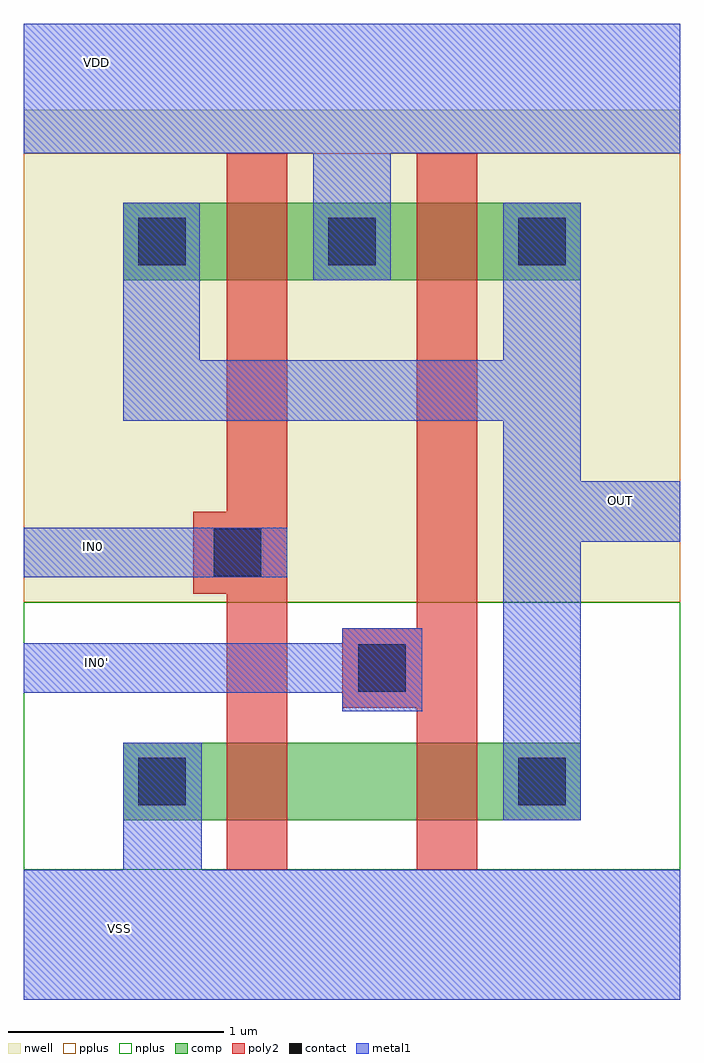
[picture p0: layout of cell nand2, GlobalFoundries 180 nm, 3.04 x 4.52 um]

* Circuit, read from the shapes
.subckt nand2 IN0 IN1 OUT VDD VSS
XM1 n1 IN0 VSS VSUBS nfet_03v3 w=0.36u l=0.28u
XM2 OUT IN1 n1 VSUBS nfet_03v3 w=0.36u l=0.28u
XM3 VDD IN0 OUT n2 pfet_03v3 w=0.36u l=0.28u
XM4 OUT IN1 VDD n2 pfet_03v3 w=0.36u l=0.28u
.ends

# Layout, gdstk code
import gdstk
lib = gdstk.Library(unit=1e-6, precision=5e-09)
def R(c, l, rs):  # rectangles x0, y0, x1, y1
    for r in rs: c.add(gdstk.rectangle(r[:2], r[2:], *l))
def A(c, l, x, y, w, h, nx, ny, dx, dy):  # array of equal rectangles
    R(c, l, [(x+i*dx, y+j*dy, x+i*dx+w, y+j*dy+h) for i in range(nx) for j in range(ny)])
nwell = (21, 0)
comp = (22, 0)
poly2 = (30, 0)
pplus = (31, 0)
nplus = (32, 0)
contact = (33, 0)
metal1 = (34, 0)

nand2 = lib.new_cell('nand2')
R(nand2, nwell, [(9.105,-1.94,12.145,0.34)])
R(nand2, comp, [(9.565,-2.95,11.685,-2.59), (9.565,-0.45,11.685,-0.09)])
R(nand2, poly2, [(10.045,-3.18,10.325,0.14), (10.925,-3.18,11.205,0.14), (10.58,-2.43,10.95,-2.06), (9.89,-1.9,10.325,-1.52)])
R(nand2, pplus, [(9.105,-1.94,12.145,0.14)])
R(nand2, nplus, [(9.105,-3.18,12.145,-1.94)])
A(nand2, contact, 9.635, -0.38, 0.22, 0.22, 3, 1, 0.88, 0)
R(nand2, contact, [(9.635,-2.88,9.855,-2.66), (11.395,-2.88,11.615,-2.66), (10.655,-2.355,10.875,-2.135), (9.985,-1.82,10.205,-1.6)])
R(nand2, metal1, [(9.105,-3.78,12.145,-3.18), (9.565,-3.18,9.93,-2.59), (11.325,-2.95,11.685,-0.09), (10.58,-2.445,10.95,-2.06), (9.105,-2.36,10.925,-2.13), (9.105,-1.825,10.325,-1.595), (11.685,-1.66,12.145,-1.38), (9.565,-1.1,9.92,-0.09), (9.565,-1.1,11.685,-0.82), (10.445,-0.45,10.805,0.14), (9.105,0.14,12.145,0.74)])
nand2.add(gdstk.Label("IN0'", (9.44,-2.22), layer=35, texttype=0))
nand2.add(gdstk.Label('VDD', (9.44,0.56), layer=34, texttype=10))
nand2.add(gdstk.Label('VSS', (9.55,-3.45), layer=34, texttype=10))
nand2.add(gdstk.Label('IN0', (9.43,-1.68), layer=34, texttype=10))
nand2.add(gdstk.Label('IN1', (9.385,-2.235), layer=34, texttype=10))
nand2.add(gdstk.Label('OUT', (11.87,-1.47), layer=34, texttype=10))

lib.write_gds('nand2.gds')
